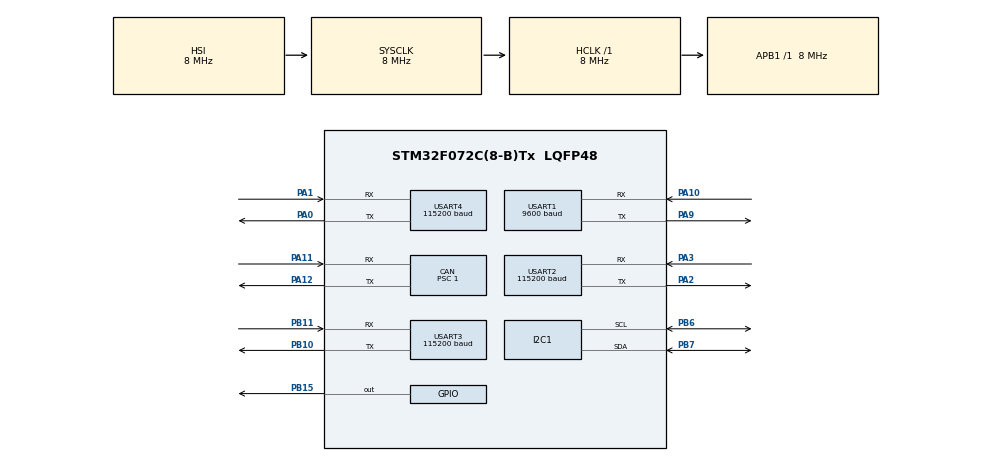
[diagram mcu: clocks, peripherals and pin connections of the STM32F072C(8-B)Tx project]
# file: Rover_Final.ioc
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CAN.BS1=CAN_BS1_13TQ
CAN.BS2=CAN_BS2_2TQ
CAN.CalculateBaudRate=500000
CAN.CalculateTimeBit=2000
CAN.CalculateTimeQuantum=125.0
CAN.Prescaler=1
Dma.Request0=USART3_RX
Dma.Request1=USART3_TX
Dma.Request2=USART4_RX
Dma.Request3=USART4_TX
Dma.Request4=USART2_RX
Dma.Request5=USART2_TX
Dma.USART2_RX.4.Direction=DMA_PERIPH_TO_MEMORY
Dma.USART2_RX.4.Instance=DMA1_Channel5
Dma.USART2_RX.4.MemDataAlignment=DMA_MDATAALIGN_BYTE
Dma.USART2_RX.4.MemInc=DMA_MINC_ENABLE
Dma.USART2_RX.4.Mode=DMA_NORMAL
Dma.USART2_RX.4.PeriphDataAlignment=DMA_PDATAALIGN_BYTE
Dma.USART2_RX.4.PeriphInc=DMA_PINC_DISABLE
Dma.USART2_RX.4.Priority=DMA_PRIORITY_LOW
Dma.USART2_TX.5.Direction=DMA_MEMORY_TO_PERIPH
Dma.USART2_TX.5.Instance=DMA1_Channel4
Dma.USART2_TX.5.MemDataAlignment=DMA_MDATAALIGN_BYTE
Dma.USART2_TX.5.MemInc=DMA_MINC_ENABLE
Dma.USART2_TX.5.Mode=DMA_NORMAL
Dma.USART2_TX.5.PeriphDataAlignment=DMA_PDATAALIGN_BYTE
Dma.USART2_TX.5.PeriphInc=DMA_PINC_DISABLE
Dma.USART2_TX.5.Priority=DMA_PRIORITY_LOW
Dma.USART3_RX.0.Direction=DMA_PERIPH_TO_MEMORY
Dma.USART3_RX.0.Instance=DMA1_Channel3
Dma.USART3_RX.0.MemDataAlignment=DMA_MDATAALIGN_BYTE
Dma.USART3_RX.0.MemInc=DMA_MINC_ENABLE
Dma.USART3_RX.0.Mode=DMA_NORMAL
Dma.USART3_RX.0.PeriphDataAlignment=DMA_PDATAALIGN_BYTE
Dma.USART3_RX.0.PeriphInc=DMA_PINC_DISABLE
Dma.USART3_RX.0.Priority=DMA_PRIORITY_LOW
Dma.USART3_TX.1.Direction=DMA_MEMORY_TO_PERIPH
Dma.USART3_TX.1.Instance=DMA1_Channel2
Dma.USART3_TX.1.MemDataAlignment=DMA_MDATAALIGN_BYTE
Dma.USART3_TX.1.MemInc=DMA_MINC_ENABLE
Dma.USART3_TX.1.Mode=DMA_NORMAL
Dma.USART3_TX.1.PeriphDataAlignment=DMA_PDATAALIGN_BYTE
Dma.USART3_TX.1.PeriphInc=DMA_PINC_DISABLE
Dma.USART3_TX.1.Priority=DMA_PRIORITY_LOW
Dma.USART4_RX.2.Direction=DMA_PERIPH_TO_MEMORY
Dma.USART4_RX.2.Instance=DMA1_Channel6
Dma.USART4_RX.2.MemDataAlignment=DMA_MDATAALIGN_BYTE
Dma.USART4_RX.2.MemInc=DMA_MINC_ENABLE
Dma.USART4_RX.2.Mode=DMA_NORMAL
Dma.USART4_RX.2.PeriphDataAlignment=DMA_PDATAALIGN_BYTE
Dma.USART4_RX.2.PeriphInc=DMA_PINC_DISABLE
Dma.USART4_RX.2.Priority=DMA_PRIORITY_LOW
Dma.USART4_TX.3.Direction=DMA_MEMORY_TO_PERIPH
Dma.USART4_TX.3.Instance=DMA1_Channel7
Dma.USART4_TX.3.MemDataAlignment=DMA_MDATAALIGN_BYTE
Dma.USART4_TX.3.MemInc=DMA_MINC_ENABLE
Dma.USART4_TX.3.Mode=DMA_NORMAL
Dma.USART4_TX.3.PeriphDataAlignment=DMA_PDATAALIGN_BYTE
Dma.USART4_TX.3.PeriphInc=DMA_PINC_DISABLE
Dma.USART4_TX.3.Priority=DMA_PRIORITY_LOW
I2C1.Timing=0x00201D2B
Mcu.Family=STM32F0
Mcu.Name=STM32F072C(8-B)Tx
Mcu.Package=LQFP48
NVIC.CEC_CAN_IRQn=true\:0\:0\:false\:false\:true\:true\:true\:true
NVIC.DMA1_Channel2_3_IRQn=true\:0\:0\:false\:false\:true\:false\:true\:true
NVIC.DMA1_Channel4_5_6_7_IRQn=true\:0\:0\:false\:false\:true\:false\:true\:true
NVIC.USART1_IRQn=true\:0\:0\:false\:false\:true\:true\:true\:true
NVIC.USART2_IRQn=true\:0\:0\:false\:false\:true\:true\:true\:true
NVIC.USART3_4_IRQn=true\:0\:0\:false\:false\:true\:true\:true\:true
PA0.Mode=Asynchronous
PA0.Signal=USART4_TX
PA1.Mode=Asynchronous
PA1.Signal=USART4_RX
PA10.Mode=Asynchronous
PA10.Signal=USART1_RX
PA11.Mode=CAN_Activate
PA11.Signal=CAN_RX
PA12.Mode=CAN_Activate
PA12.Signal=CAN_TX
PA13.Mode=Serial_Wire
PA13.Signal=SYS_SWDIO
PA14.Mode=Serial_Wire
PA14.Signal=SYS_SWCLK
PA2.Mode=Asynchronous
PA2.Signal=USART2_TX
PA3.Mode=Asynchronous
PA3.Signal=USART2_RX
PA9.Mode=Asynchronous
PA9.Signal=USART1_TX
PB10.Mode=Asynchronous
PB10.Signal=USART3_TX
PB11.Mode=Asynchronous
PB11.Signal=USART3_RX
PB15.Signal=GPIO_Output
PB6.GPIO_Pu=GPIO_PULLUP
PB6.Mode=I2C
PB6.Signal=I2C1_SCL
PB7.GPIO_Pu=GPIO_PULLUP
PB7.Mode=I2C
PB7.Signal=I2C1_SDA
PF0-OSC_IN.Mode=HSE-External-Oscillator
PF0-OSC_IN.Signal=RCC_OSC_IN
PF1-OSC_OUT.Mode=HSE-External-Oscillator
PF1-OSC_OUT.Signal=RCC_OSC_OUT
ProjectManager.HeapSize=0x200
ProjectManager.StackSize=0x400
ProjectManager.TargetToolchain=STM32CubeIDE
RCC.AHBFreq_Value=8000000
RCC.APB1Freq_Value=8000000
RCC.APB1TimFreq_Value=8000000
RCC.HCLKFreq_Value=8000000
RCC.PLLSourceVirtual=RCC_PLLSOURCE_HSE
RCC.SYSCLKFreq_VALUE=8000000
USART1.BaudRate=9600
USART1.VirtualMode-Asynchronous=VM_ASYNC
USART2.BaudRate=115200
USART2.VirtualMode-Asynchronous=VM_ASYNC
USART3.BaudRate=115200
USART3.VirtualMode-Asynchronous=VM_ASYNC
USART4.BaudRate=115200
USART4.VirtualMode-Asynchronous=VM_ASYNC
board=custom

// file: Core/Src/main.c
/* USER CODE BEGIN Header */
/**
  ******************************************************************************
  * @file           : main.c
  * @brief          : Main program body
  ******************************************************************************
  * @attention
  *
  * Copyright (c) 2025 STMicroelectronics.
  * All rights reserved.
  *
  * This software is licensed under terms that can be found in the LICENSE file
  * in the root directory of this software component.
  * If no LICENSE file comes with this software, it is provided AS-IS.
  *
  ******************************************************************************
  */
/* USER CODE END Header */
#include "main.h"

/* USER CODE BEGIN Includes */
#include <string.h>
#include <stdio.h>
#include "../../Adafruit_BNO055/IMU.h"
#include <stdbool.h>
#include "../../GPS/GPS.h"
#include "../../roboclaw/roboclaw.h"
/* USER CODE END Includes */

/* USER CODE BEGIN PD */
//-------------------- MOTORs defines -------------------------
#define pulses_per_revolution_encoder 5281
#define pulses_per_revolution_gearbox 28
#define reduction_ratio 188

#define CPR 212000.0  //212000         // Quadrature-decoded counts per revolution of the motor shaft
#define GEAR_RATIO 168      // Gear reduction ratio 168:1
//-------------------------------------------------------------------------
/* USER CODE END PD */

CAN_HandleTypeDef hcan;

I2C_HandleTypeDef hi2c1;

UART_HandleTypeDef huart1;
UART_HandleTypeDef huart2;
UART_HandleTypeDef huart3;
UART_HandleTypeDef huart4;
DMA_HandleTypeDef hdma_usart2_rx;
DMA_HandleTypeDef hdma_usart2_tx;
DMA_HandleTypeDef hdma_usart3_rx;
DMA_HandleTypeDef hdma_usart3_tx;
DMA_HandleTypeDef hdma_usart4_rx;
DMA_HandleTypeDef hdma_usart4_tx;

/* USER CODE BEGIN PV */
//---------------------------  IMU Variables ------------------------------------
IMU_INFO imu;
uint8_t CAN_OrientationBuffer[8] = {0}; //0x200
uint8_t CAN_LinearAccelBuffer[8] = {0}; //0x201
uint8_t CAN_LinearVelBuffer[8] = {0};
//-----------------------------------------------------------------------------
//---------------------------  GPS Variables  --------------------------
GPS_INFO gps;
uint8_t CAN_LatBuffer[8] = {0};
uint8_t CAN_LongBuffer[8] = {0};
//------------------------------------------------------------------------------

//---------------------------  CAN Variables  --------------------------
volatile uint8_t messageReceived = 0;
CAN_RxHeaderTypeDef rxHeader;
uint8_t rxData[8];
uint8_t txData[] = {0x01, 0x02, 0xAB, 0xFF}; // Example data to send
uint32_t lastSendTime_IMU = 0; // Use a single timer for both messages
char* Debug_IMU1 ;
char* Debug_IMU2 ;
static uint16_t sequence_counter = 0; // The single counter for both messages
//------------------------------------------------------------------------------

//--------------------------- MOTOR Variables -------------------------------------
uint32_t encoderrrr;

SERIAL_HandleTypeDef* hserial_uart1;
SERIAL_HandleTypeDef* hserial_uart2;
SERIAL_HandleTypeDef* hserial_uart3;
RoboClaw_HandleTypeDef hroboclaw_mc1;
RoboClaw_HandleTypeDef hroboclaw_mc2;
RoboClaw_HandleTypeDef hroboclaw_mc3;

uint8_t motorsSpeeds[8];

ROBOCLAW_StatusTypeDef statusm1;

uint32_t m1_enc_cnt=0;

uint32_t m1a_speed=0;
uint32_t m1b_speed=0;
uint32_t m2a_speed=0;
uint32_t m2b_speed=0;
uint32_t m3a_speed=0;
uint32_t m3b_speed=0;

uint32_t prev_m1a_speed = 0;
uint32_t prev_m1b_speed = 0;
uint32_t prev_m2a_speed = 0;
uint32_t prev_m2b_speed = 0;
uint32_t prev_m3a_speed = 0;
uint32_t prev_m3b_speed = 0;
uint8_t data1=0;
uint8_t data3=0;

uint8_t status1a=0;
uint8_t status1b=0;
uint8_t status2a=0;
uint8_t status2b=0;
uint8_t status3a=0;
uint8_t status3b=0;
bool valid1a;
bool valid1b;
bool valid2a;
bool valid2b;
bool valid3a;
bool valid3b;

uint32_t debug_buff[100];
uint8_t SendMotorRPMs[6];

// Velocity Control Variables
uint8_t rx_byte[50];
float rpm;
uint8_t status;
bool valid;
uint32_t qpps;

//---------------------------------------------------------------------------------

//----------------------- GPS Configuration Variables -------------------------

//-----------------------------------------------------------------------------
/* USER CODE END PV */

void SystemClock_Config(void);
static void MX_GPIO_Init(void);
static void MX_DMA_Init(void);
static void MX_I2C1_Init(void);
static void MX_USART1_UART_Init(void);
static void MX_USART2_UART_Init(void);
static void MX_USART3_UART_Init(void);
static void MX_USART4_UART_Init(void);
static void MX_CAN_Init(void);
/* USER CODE BEGIN PFP */
void can_irq(CAN_HandleTypeDef *pcan);
HAL_StatusTypeDef can_send(uint32_t id, uint8_t data[], uint8_t length);
/* USER CODE END PFP */

/* USER CODE BEGIN 0 */

//---------------------------  CAN Functions  --------------------------
void can_irq(CAN_HandleTypeDef *pcan) {
  /* Simply receive whatever message comes in */
  if (HAL_CAN_GetRxMessage(pcan, CAN_RX_FIFO0, &rxHeader, rxData) == HAL_OK) {
    messageReceived = 1;
  }
}

HAL_StatusTypeDef can_send(uint32_t id, uint8_t data[], uint8_t length) {
  CAN_TxHeaderTypeDef txHeader;
  uint32_t mailbox;

  /* Configure TX header */
  txHeader.StdId = id;
  txHeader.IDE = CAN_ID_STD;
  txHeader.RTR = CAN_RTR_DATA;
  txHeader.DLC = length;
  txHeader.TransmitGlobalTime = DISABLE;

  /* Check if mailbox is available and send */
  if (HAL_CAN_GetTxMailboxesFreeLevel(&hcan) > 0) {
    return HAL_CAN_AddTxMessage(&hcan, &txHeader, data, &mailbox);
  }
  return HAL_BUSY;
}
//----------------------------------------------------------------------

//---------------------------  GPS Configuration Functions  --------------------------

//------------------------------------------------------------------------------------

//void HAL_UART_RxCpltCallback(UART_HandleTypeDef *huart) {
//
//	SERIAL_HandleTypeDef* serial_handler = get_serial_handler(huart);
//
//	ring_buffer_queue_arr(serial_handler->buffer_Rx, serial_handler->hal_reg_Rx, PRIMARY_REG_SIZE);
//	HAL_UART_Receive_DMA(huart, serial_handler->hal_reg_Rx, PRIMARY_REG_SIZE);
//}

/* USER CODE END 0 */

int main(void)
{

  /* MCU Configuration--------------------------------------------------------*/

  /* Reset of all peripherals, Initializes the Flash interface and the Systick. */
  HAL_Init();

  /* Configure the system clock */
  SystemClock_Config();

  /* Initialize all configured peripherals */
  MX_GPIO_Init();
  MX_DMA_Init();
  MX_I2C1_Init();
  MX_USART1_UART_Init();
  MX_USART2_UART_Init();
  MX_USART3_UART_Init();
  MX_USART4_UART_Init();
  MX_CAN_Init();
  /* USER CODE BEGIN 2 */

  // ---------------------Initialize GPS-----------------------
  	  /*
  	   *
  	   * UART 1 -> GPS
  	   *
  	   * */
  //-----------------------------------------------------------

  // ---------------------Initialize IMU-----------------------
  IMU_Setup(&hi2c1);
  //-----------------------------------------------------------

  /*-------------------- Initialize MOTORS (RoboClaws) --------------------------*/

  	/*
  	 * UART 4 -> MOToR 1
  	 *
  	 * UART 2 -> MOTOR 2
  	 *
  	 * UART 3 -> MOTOR 3
  	 *
  	 * */

// MOTOR 1&2 -> ROBOCLAW 1
//	hserial_uart1 = serial_init(&huart4);
//	hroboclaw_mc1.hserial = hserial_uart1;
//	hroboclaw_mc1.packetserial_address = 0x84;

////MOTOR 3&4 -> ROBOCLAW 2
//	 hserial_uart2 = serial_init(&huart2);
//	 hroboclaw_mc2.hserial = hserial_uart2;
//	 hroboclaw_mc2.packetserial_address = 0x80;
//
////MOTOR 5&6 -> ROBOCLAW 3
	 hserial_uart3 = serial_init(&huart2);
	 hroboclaw_mc3.hserial = hserial_uart3;
	 hroboclaw_mc3.packetserial_address = 0x80;

//-----------------------------------------------------------------------
	 HAL_GPIO_WritePin(GPIOB, GPIO_PIN_15, GPIO_PIN_SET); // LED off
  /* USER CODE END 2 */

  /* Infinite loop */
  while (1)
  {

    /* USER CODE BEGIN 3 */
	  //------------------------  IMU Testing ------------------------------

	  IMU_Operation(&imu);
	      // Prepare both messages with the current sequence counter
	  IMU_CANMsgSendOrientation(&imu, CAN_OrientationBuffer, sequence_counter);
	  IMU_CANMsgSendLinearAccel(&imu, CAN_LinearAccelBuffer, sequence_counter);

	      // Send both messages if enough time has passed
	      if (HAL_GetTick() - lastSendTime_IMU > 1000) {
	          // Wait until at least 2 mailboxes are free
	          if (HAL_CAN_GetTxMailboxesFreeLevel(&hcan) >= 2) {
	              // Send Orientation first
	              if (can_send(0x200, CAN_OrientationBuffer, sizeof(CAN_OrientationBuffer)) == HAL_OK) {
	                  HAL_GPIO_TogglePin(GPIOB, GPIO_PIN_15);
	                  Debug_IMU1 = "Can Message Sent";
	              } else {
	                  Debug_IMU1 = "Failed To Send";
	              }

	              // Send Linear Acceleration immediately after
	              if (can_send(0x201, CAN_LinearAccelBuffer, sizeof(CAN_LinearAccelBuffer)) == HAL_OK) {
	                  HAL_GPIO_TogglePin(GPIOB, GPIO_PIN_15);
	                  Debug_IMU2 = "Can Message Sent";
	              } else {
	                  Debug_IMU2 = "Failed To Send";
	              }

	              // Increment the counter and reset the timer only after both messages have been sent
	              sequence_counter++;
	              lastSendTime_IMU = HAL_GetTick();
	          }
	      }
	  HAL_Delay(10);

//	  if (HAL_GetTick() - lastSendTime_IMU1 > 1000) {
//	    if (can_send(0x123, txData, sizeof(txData)) == HAL_OK) {
//	      HAL_GPIO_TogglePin(GPIOB, GPIO_PIN_15); // Toggle LED on successful send
//	    }
//	    lastSendTime_IMU1 = HAL_GetTick();
//	  }

	  //--------------------------------------------------------------------

//	  // -----------------------  GPS Testing  ----------------------------
//	  GPS_Operation(&huart1, &gps);
//	  GPS_CANMsgSendLatitude(&gps, CAN_LatBuffer);
//	  GPS_CANMsgSendLongitude(&gps, CAN_LongBuffer);
//	  //--------------------------------------------------------------------

	  //---------------------- MOTORS Testing (Velocity Control) ----------------------
	  	  //to read the speed we use the following functions

	  	  /*
	  	   * -> RoboClaw_ReadSpeedM1 Return the speed in QPPS so we need to use the following
	  	   * formula to calculate the RPM or speed
	  	   *
	  	   * */

//	  	 ForwardBackwardM1(&hroboclaw_mc1, 108);
//	  	SpeedM1(&hroboclaw_mc3, 12000);
//	  	qpps = ReadSpeedM1(&hroboclaw_mc3, &status, (bool *)&valid);
//
//	  	if (valid) {
//	 	  rpm = (qpps / CPR) * 60.0;
//	  	} else {
//	 	  rpm = 0.0f;
//	  	}
//
//	  	  HAL_Delay(10);

//      // Poll for a received byte
//      if (HAL_UART_Receive_DMA(&huart3, rx_byte, sizeof(rx_byte)) == HAL_OK) {
//          // Echo the received byte back
//          HAL_UART_Transmit_DMA(&huart3, rx_byte,sizeof(rx_byte));
      //}
//      // Optional: small delay to avoid spamming
//      HAL_Delay(10);
//    HAL_UART_Transmit(&huart4, (uint8_t *)"ADHAM", 5, 1000);
	  //----------------------------------------------------------------------------------

  }
  /* USER CODE END 3 */
}

void SystemClock_Config(void)
{
  RCC_OscInitTypeDef RCC_OscInitStruct = {0};
  RCC_ClkInitTypeDef RCC_ClkInitStruct = {0};
  RCC_PeriphCLKInitTypeDef PeriphClkInit = {0};

  /** Initializes the RCC Oscillators according to the specified parameters
  * in the RCC_OscInitTypeDef structure.
  */
  RCC_OscInitStruct.OscillatorType = RCC_OSCILLATORTYPE_HSI;
  RCC_OscInitStruct.HSIState = RCC_HSI_ON;
  RCC_OscInitStruct.HSICalibrationValue = RCC_HSICALIBRATION_DEFAULT;
  RCC_OscInitStruct.PLL.PLLState = RCC_PLL_NONE;
  if (HAL_RCC_OscConfig(&RCC_OscInitStruct) != HAL_OK)
  {
    Error_Handler();
  }

  /** Initializes the CPU, AHB and APB buses clocks
  */
  RCC_ClkInitStruct.ClockType = RCC_CLOCKTYPE_HCLK|RCC_CLOCKTYPE_SYSCLK
                              |RCC_CLOCKTYPE_PCLK1;
  RCC_ClkInitStruct.SYSCLKSource = RCC_SYSCLKSOURCE_HSI;
  RCC_ClkInitStruct.AHBCLKDivider = RCC_SYSCLK_DIV1;
  RCC_ClkInitStruct.APB1CLKDivider = RCC_HCLK_DIV1;

  if (HAL_RCC_ClockConfig(&RCC_ClkInitStruct, FLASH_LATENCY_0) != HAL_OK)
  {
    Error_Handler();
  }
  PeriphClkInit.PeriphClockSelection = RCC_PERIPHCLK_USART1|RCC_PERIPHCLK_USART2
                              |RCC_PERIPHCLK_I2C1;
  PeriphClkInit.Usart1ClockSelection = RCC_USART1CLKSOURCE_PCLK1;
  PeriphClkInit.Usart2ClockSelection = RCC_USART2CLKSOURCE_PCLK1;
  PeriphClkInit.I2c1ClockSelection = RCC_I2C1CLKSOURCE_HSI;
  if (HAL_RCCEx_PeriphCLKConfig(&PeriphClkInit) != HAL_OK)
  {
    Error_Handler();
  }
}

static void MX_CAN_Init(void)
{

  hcan.Instance = CAN;
  hcan.Init.Prescaler = 1;
  hcan.Init.Mode = CAN_MODE_NORMAL;
  hcan.Init.SyncJumpWidth = CAN_SJW_1TQ;
  hcan.Init.TimeSeg1 = CAN_BS1_13TQ;
  hcan.Init.TimeSeg2 = CAN_BS2_2TQ;
  hcan.Init.TimeTriggeredMode = DISABLE;
  hcan.Init.AutoBusOff = DISABLE;
  hcan.Init.AutoWakeUp = DISABLE;
  hcan.Init.AutoRetransmission = DISABLE;
  hcan.Init.ReceiveFifoLocked = DISABLE;
  hcan.Init.TransmitFifoPriority = DISABLE;
  if (HAL_CAN_Init(&hcan) != HAL_OK)
  {
    Error_Handler();
  }
  /* USER CODE BEGIN CAN_Init 2 */
  CAN_FilterTypeDef sf;
    sf.FilterMaskIdHigh = 0x0000;
    sf.FilterMaskIdLow = 0x0000;
    sf.FilterFIFOAssignment = CAN_FILTER_FIFO0;
    sf.FilterBank = 0;
    sf.FilterMode = CAN_FILTERMODE_IDMASK;
    sf.FilterScale = CAN_FILTERSCALE_32BIT;
    sf.FilterActivation = CAN_FILTER_ENABLE;
    if (HAL_CAN_ConfigFilter(&hcan, &sf) != HAL_OK) { Error_Handler(); }

    if (HAL_CAN_RegisterCallback(&hcan, HAL_CAN_RX_FIFO0_MSG_PENDING_CB_ID, can_irq) != HAL_OK) { Error_Handler(); }

    if (HAL_CAN_Start(&hcan) != HAL_OK) { Error_Handler(); }

    if (HAL_CAN_ActivateNotification(&hcan, CAN_IT_RX_FIFO0_MSG_PENDING) != HAL_OK) { Error_Handler(); }

    /* Enable interrupts for CAN: FIFO0 message pending, transmit mailbox empty, error */
   __HAL_CAN_ENABLE_IT(&hcan,
                       CAN_IT_RX_FIFO0_MSG_PENDING | // RX FIFO0 message
                       CAN_IT_TX_MAILBOX_EMPTY    | // Transmit mailbox empty
                       CAN_IT_ERROR_WARNING       | // Error warning
                       CAN_IT_ERROR_PASSIVE       | // Error passive
                       CAN_IT_BUSOFF              | // Bus-off
                       CAN_IT_LAST_ERROR_CODE     | // Last error code
                       CAN_IT_ERROR               ); // General error

   /* Configure NVIC for CAN interrupts */
   HAL_NVIC_SetPriority(CEC_CAN_IRQn, 0, 0);
   HAL_NVIC_EnableIRQ(CEC_CAN_IRQn);
  /* USER CODE END CAN_Init 2 */

}

static void MX_I2C1_Init(void)
{

  hi2c1.Instance = I2C1;
  hi2c1.Init.Timing = 0x00201D2B;
  hi2c1.Init.OwnAddress1 = 0;
  hi2c1.Init.AddressingMode = I2C_ADDRESSINGMODE_7BIT;
  hi2c1.Init.DualAddressMode = I2C_DUALADDRESS_DISABLE;
  hi2c1.Init.OwnAddress2 = 0;
  hi2c1.Init.OwnAddress2Masks = I2C_OA2_NOMASK;
  hi2c1.Init.GeneralCallMode = I2C_GENERALCALL_DISABLE;
  hi2c1.Init.NoStretchMode = I2C_NOSTRETCH_DISABLE;
  if (HAL_I2C_Init(&hi2c1) != HAL_OK)
  {
    Error_Handler();
  }

  /** Configure Analogue filter
  */
  if (HAL_I2CEx_ConfigAnalogFilter(&hi2c1, I2C_ANALOGFILTER_ENABLE) != HAL_OK)
  {
    Error_Handler();
  }

  /** Configure Digital filter
  */
  if (HAL_I2CEx_ConfigDigitalFilter(&hi2c1, 0) != HAL_OK)
  {
    Error_Handler();
  }

}

static void MX_USART1_UART_Init(void)
{

  huart1.Instance = USART1;
  huart1.Init.BaudRate = 9600;
  huart1.Init.WordLength = UART_WORDLENGTH_8B;
  huart1.Init.StopBits = UART_STOPBITS_1;
  huart1.Init.Parity = UART_PARITY_NONE;
  huart1.Init.Mode = UART_MODE_TX_RX;
  huart1.Init.HwFlowCtl = UART_HWCONTROL_NONE;
  huart1.Init.OverSampling = UART_OVERSAMPLING_16;
  huart1.Init.OneBitSampling = UART_ONE_BIT_SAMPLE_DISABLE;
  huart1.AdvancedInit.AdvFeatureInit = UART_ADVFEATURE_NO_INIT;
  if (HAL_UART_Init(&huart1) != HAL_OK)
  {
    Error_Handler();
  }

}

static void MX_USART2_UART_Init(void)
{

  huart2.Instance = USART2;
  huart2.Init.BaudRate = 115200;
  huart2.Init.WordLength = UART_WORDLENGTH_8B;
  huart2.Init.StopBits = UART_STOPBITS_1;
  huart2.Init.Parity = UART_PARITY_NONE;
  huart2.Init.Mode = UART_MODE_TX_RX;
  huart2.Init.HwFlowCtl = UART_HWCONTROL_NONE;
  huart2.Init.OverSampling = UART_OVERSAMPLING_16;
  huart2.Init.OneBitSampling = UART_ONE_BIT_SAMPLE_DISABLE;
  huart2.AdvancedInit.AdvFeatureInit = UART_ADVFEATURE_NO_INIT;
  if (HAL_UART_Init(&huart2) != HAL_OK)
  {
    Error_Handler();
  }

}

static void MX_USART3_UART_Init(void)
{

  huart3.Instance = USART3;
  huart3.Init.BaudRate = 115200;
  huart3.Init.WordLength = UART_WORDLENGTH_8B;
  huart3.Init.StopBits = UART_STOPBITS_1;
  huart3.Init.Parity = UART_PARITY_NONE;
  huart3.Init.Mode = UART_MODE_TX_RX;
  huart3.Init.HwFlowCtl = UART_HWCONTROL_NONE;
  huart3.Init.OverSampling = UART_OVERSAMPLING_16;
  huart3.Init.OneBitSampling = UART_ONE_BIT_SAMPLE_DISABLE;
  huart3.AdvancedInit.AdvFeatureInit = UART_ADVFEATURE_NO_INIT;
  if (HAL_UART_Init(&huart3) != HAL_OK)
  {
    Error_Handler();
  }

}

static void MX_USART4_UART_Init(void)
{

  huart4.Instance = USART4;
  huart4.Init.BaudRate = 115200;
  huart4.Init.WordLength = UART_WORDLENGTH_8B;
  huart4.Init.StopBits = UART_STOPBITS_1;
  huart4.Init.Parity = UART_PARITY_NONE;
  huart4.Init.Mode = UART_MODE_TX_RX;
  huart4.Init.HwFlowCtl = UART_HWCONTROL_NONE;
  huart4.Init.OverSampling = UART_OVERSAMPLING_16;
  huart4.Init.OneBitSampling = UART_ONE_BIT_SAMPLE_DISABLE;
  huart4.AdvancedInit.AdvFeatureInit = UART_ADVFEATURE_NO_INIT;
  if (HAL_UART_Init(&huart4) != HAL_OK)
  {
    Error_Handler();
  }

}

static void MX_DMA_Init(void)
{

  /* DMA controller clock enable */
  __HAL_RCC_DMA1_CLK_ENABLE();

  /* DMA interrupt init */
  /* DMA1_Channel2_3_IRQn interrupt configuration */
  HAL_NVIC_SetPriority(DMA1_Channel2_3_IRQn, 0, 0);
  HAL_NVIC_EnableIRQ(DMA1_Channel2_3_IRQn);
  /* DMA1_Channel4_5_6_7_IRQn interrupt configuration */
  HAL_NVIC_SetPriority(DMA1_Channel4_5_6_7_IRQn, 0, 0);
  HAL_NVIC_EnableIRQ(DMA1_Channel4_5_6_7_IRQn);

}

static void MX_GPIO_Init(void)
{
  GPIO_InitTypeDef GPIO_InitStruct = {0};

  /* GPIO Ports Clock Enable */
  __HAL_RCC_GPIOF_CLK_ENABLE();
  __HAL_RCC_GPIOA_CLK_ENABLE();
  __HAL_RCC_GPIOB_CLK_ENABLE();

  /*Configure GPIO pin Output Level */
  HAL_GPIO_WritePin(GPIOB, GPIO_PIN_15, GPIO_PIN_RESET);

  /*Configure GPIO pin : PB15 */
  GPIO_InitStruct.Pin = GPIO_PIN_15;
  GPIO_InitStruct.Mode = GPIO_MODE_OUTPUT_PP;
  GPIO_InitStruct.Pull = GPIO_NOPULL;
  GPIO_InitStruct.Speed = GPIO_SPEED_FREQ_LOW;
  HAL_GPIO_Init(GPIOB, &GPIO_InitStruct);

}

void Error_Handler(void)
{
  __disable_irq();
  while (1)
  {
  }
}
